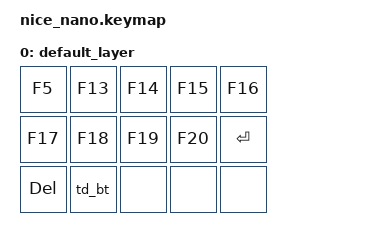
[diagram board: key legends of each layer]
#include <behaviors.dtsi>
#include <dt-bindings/zmk/keys.h>
#include <dt-bindings/zmk/bt.h>

/*
 * ZMK Keymap Configuration
 * Nice Nano - 2x5 Layout for Vibe Coding
 *
 * Layout:
 *   Row 1: F5   F13  F14  F15  F16
 *   Row 2: F17  F18  F19  F20  Enter
 *   Row 3: Delete, BT Reset
 */

/ {
    chosen {
        zmk,keymap = &default_layer;
    };

    behaviors {
        /* BT Reset 键双功能：
         * 单击 = 清空蓝牙配对（BT_CLR_ALL）
         * 双击 = 进 bootloader 刷机模式（&bootloader，无需按 RST）
         */
        td_bt: td_bt {
            compatible = "zmk,behavior-tap-dance";
            #binding-cells = <0>;
            tapping-term-ms = <250>;
            bindings = <&bt BT_CLR_ALL>, <&bootloader>;
        };
    };

    default_layer: keymap {
        compatible = "zmk,keymap";

        // 2x5 matrix layout - Vibe Coding optimized
        default_layer {
            bindings = <
                &kp F5  &kp F13 &kp F14 &kp F15 &kp F16
                &kp F17 &kp F18 &kp F19 &kp F20 &kp RET
                &kp DEL  &td_bt  &none   &none   &none
            >;
        };
    };
};
